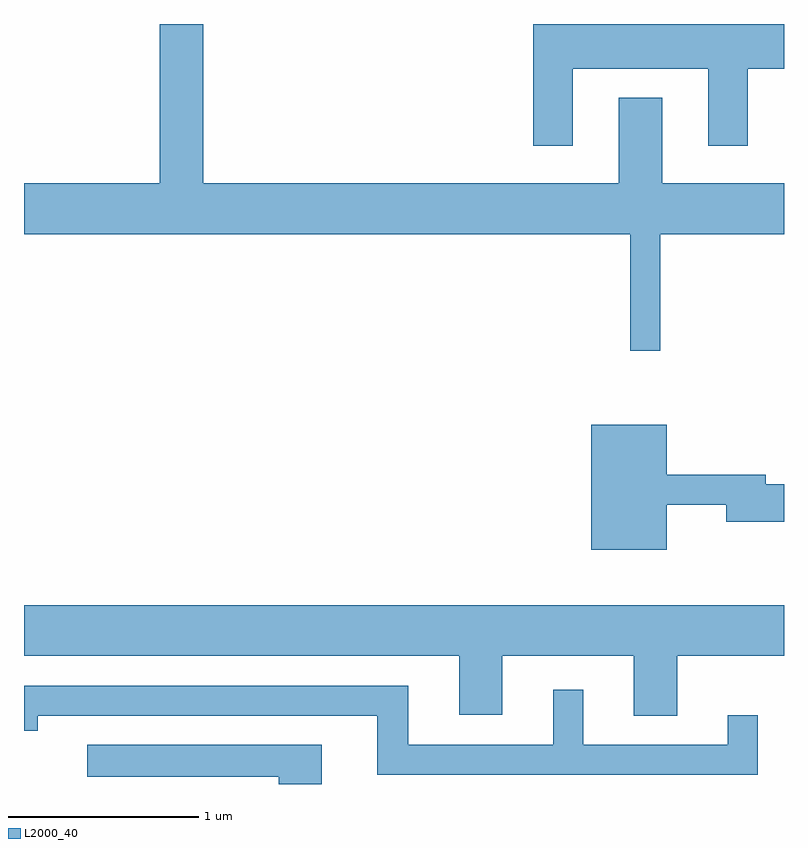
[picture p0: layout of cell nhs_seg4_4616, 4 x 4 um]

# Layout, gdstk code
import gdstk
lib = gdstk.Library(unit=1e-6, precision=1e-09)
def P(c, l, *ps):  # polygons
    for p in ps: c.add(gdstk.Polygon(p, *l))
L2000_40 = (2000, 40)

nhs_seg4_4616 = lib.new_cell('nhs_seg4_4616')
P(nhs_seg4_4616, L2000_40, [(322.959,1376.876),(323.611,1376.876),(323.611,1377.144),(322.969,1377.144),(322.969,1377.594),(322.741,1377.594),(322.741,1377.144),(320.554,1377.144),(320.554,1377.982),(320.326,1377.982),(320.326,1377.144),(319.611,1377.144),(319.611,1376.876),(322.801,1376.876),(322.801,1376.263),(322.959,1376.263)],
  [(322.499,1377.746),(323.211,1377.746),(323.211,1377.341),(323.419,1377.341),(323.419,1377.746),(323.611,1377.746),(323.611,1377.982),(322.291,1377.982),(322.291,1377.341),(322.499,1377.341)],
  [(322.994,1375.451),(323.306,1375.451),(323.306,1375.361),(323.611,1375.361),(323.611,1375.559),(323.514,1375.559),(323.514,1375.609),(322.994,1375.609),(322.994,1375.874),(322.596,1375.874),(322.596,1375.216),(322.994,1375.216)],
  [(323.049,1374.656),(323.611,1374.656),(323.611,1374.924),(319.611,1374.924),(319.611,1374.656),(321.901,1374.656),(321.901,1374.346),(322.129,1374.346),(322.129,1374.656),(322.821,1374.656),(322.821,1374.341),(323.049,1374.341)],
  [(323.474,1374.343),(323.316,1374.343),(323.316,1374.189),(322.554,1374.189),(322.554,1374.478),(322.396,1374.478),(322.396,1374.189),(321.634,1374.189),(321.634,1374.499),(319.611,1374.499),(319.611,1374.263),(319.684,1374.263),(319.684,1374.341),(321.471,1374.341),(321.471,1374.031),(323.474,1374.031)],
  [(321.179,1374.189),(319.943,1374.189),(319.943,1374.021),(320.951,1374.021),(320.951,1373.982),(321.179,1373.982)])

lib.write_gds('nhs_seg4_4616.gds')
